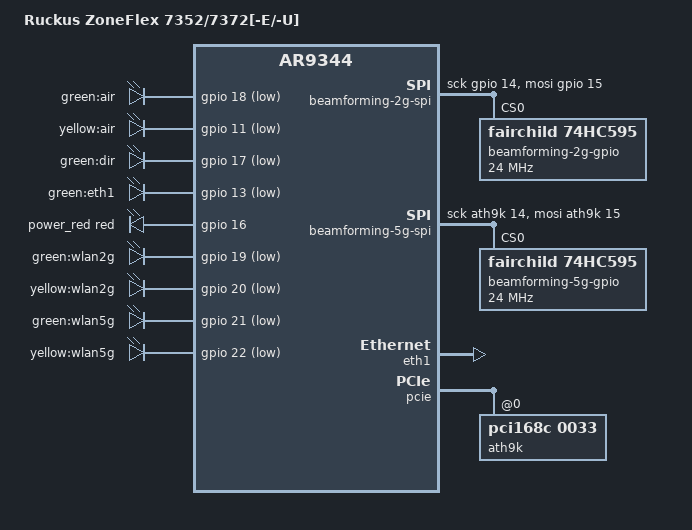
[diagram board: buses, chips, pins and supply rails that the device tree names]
// SPDX-License-Identifier: GPL-2.0-or-later OR MIT

#include <dt-bindings/leds/common.h>

#include "ar934x_ruckus_zf73xx.dtsi"

/ {
	model = "Ruckus ZoneFlex 7352/7372[-E/-U]";
	compatible = "ruckus,zf7372", "qca,ar9344";

	leds {
		air-green {
			label = "green:air";
			gpios = <&gpio 18 GPIO_ACTIVE_LOW>;
		};

		air-yellow {
			label = "yellow:air";
			gpios = <&gpio 11 GPIO_ACTIVE_LOW>;
		};

		dir-green {
			label = "green:dir";
			gpios = <&gpio 17 GPIO_ACTIVE_LOW>;
		};

		eth1-green {
			label = "green:eth1";
			gpios = <&gpio 13 GPIO_ACTIVE_LOW>;
		};

		power_red: power-red {
			function = LED_FUNCTION_POWER;
			color = <LED_COLOR_ID_RED>;
			gpios = <&gpio 16 GPIO_ACTIVE_HIGH>;
			panic-indicator;
		};

		wlan2g-green {
			label = "green:wlan2g";
			gpios = <&gpio 19 GPIO_ACTIVE_LOW>;
			linux,default-trigger = "phy0assoc";
		};

		wlan2g-yellow {
			label = "yellow:wlan2g";
			gpios = <&gpio 20 GPIO_ACTIVE_LOW>;
			linux,default-trigger = "phy0tpt";
		};

		wlan5g-green {
			label = "green:wlan5g";
			gpios = <&gpio 21 GPIO_ACTIVE_LOW>;
			linux,default-trigger = "phy1assoc";
		};

		wlan5g-yellow {
			label = "yellow:wlan5g";
			gpios = <&gpio 22 GPIO_ACTIVE_LOW>;
			linux,default-trigger = "phy1tpt";
		};
	};

	beamforming-2g-spi {
		compatible = "spi-gpio";
		mosi-gpios = <&gpio 15 GPIO_ACTIVE_HIGH>;
		sck-gpios = <&gpio 14 GPIO_ACTIVE_HIGH>;
		num-chipselects = <0>;
		#address-cells = <1>;
		#size-cells = <0>;

		beamforming-2g-gpio@0 {
			compatible = "fairchild,74hc595";
			reg = <0>;
			registers-number = <1>;
			spi-max-frequency = <24000000>;
			gpio-controller;
			#gpio-cells = <2>;
		};
	};

	beamforming-5g-spi {
		compatible = "spi-gpio";
		mosi-gpios = <&ath9k 15 GPIO_ACTIVE_HIGH>;
		sck-gpios = <&ath9k 14 GPIO_ACTIVE_HIGH>;
		num-chipselects = <0>;
		#address-cells = <1>;
		#size-cells = <0>;

		beamforming-5g-gpio@0 {
			compatible = "fairchild,74hc595";
			reg = <0>;
			registers-number = <1>;
			spi-max-frequency = <24000000>;
			gpio-controller;
			#gpio-cells = <2>;
		};
	};
};

&eth0 {
	nvmem-cells = <&macaddr_board_data_6c>;
};

&eth1 {
	status = "okay";

	nvmem-cells = <&macaddr_board_data_66>;
	nvmem-cell-names = "mac-address";

	gmac-config {
		device = <&gmac>;
		switch-phy-swap = <0>;
		switch-only-mode = <1>;
	};
};

&pcie {
	status = "okay";

	ath9k: wifi@0,0 {
		compatible = "pci168c,0033";
		reg = <0x0000 0 0 0 0>;
		gpio-controller;
		#gpio-cells = <2>;

		nvmem-cells = <&macaddr_board_data_76>;
		nvmem-cell-names = "mac-address";
	};
};

&board_data {
	nvmem-layout {
		compatible = "fixed-layout";
		#address-cells = <1>;
		#size-cells = <1>;

		macaddr_board_data_60: macaddr@60 {
			reg = <0x60 0x6>;
		};

		macaddr_board_data_66: macaddr@66 {
			reg = <0x66 0x6>;
		};

		macaddr_board_data_6c: macaddr@6c {
			reg = <0x6c 0x6>;
		};

		macaddr_board_data_76: macaddr@76 {
			reg = <0x76 0x6>;
		};

		cal_board_data_41000: cal@41000 {
			reg = <0x41000 0x440>;
		};
	};
};
